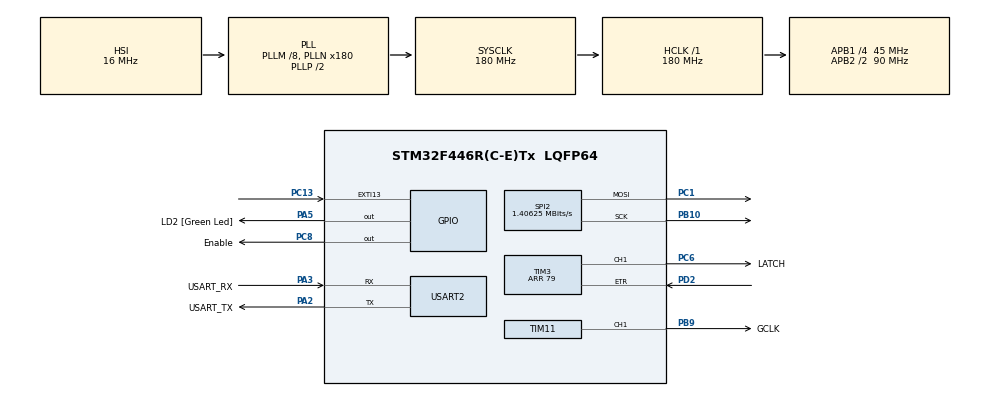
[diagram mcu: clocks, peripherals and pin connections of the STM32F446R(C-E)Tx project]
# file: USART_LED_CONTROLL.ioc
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Mcu.Family=STM32F4
Dma.SPI2_TX.2.PeriphInc=DMA_PINC_DISABLE
Dma.SPI2_TX.2.MemInc=DMA_MINC_ENABLE
PH0-OSC_IN.Signal=RCC_OSC_IN
RCC.CortexFreq_Value=180000000
PB10.GPIO_PuPd=GPIO_PULLDOWN
SPI2.VirtualType=VM_MASTER
PB10.Mode=TX_Only_Simplex_Unidirect_Master
Dma.USART2_TX.1.MemInc=DMA_MINC_ENABLE
PA14.GPIO_Label=TCK
PC6.GPIO_Label=LATCH
PD2.GPIO_Speed=GPIO_SPEED_FREQ_VERY_HIGH
NVIC.DMA1_Stream4_IRQn=true\:0\:0\:false\:false\:true\:false\:true
RCC.SYSCLKSource=RCC_SYSCLKSOURCE_PLLCLK
ProjectManager.StackSize=0x400
SPI2.CLKPolarity=SPI_POLARITY_LOW
Dma.USART2_RX.0.Priority=DMA_PRIORITY_LOW
Dma.USART2_RX.0.PeriphDataAlignment=DMA_PDATAALIGN_BYTE
RCC.HCLKFreq_Value=180000000
RCC.APB2TimFreq_Value=180000000
TIM3.Period=79
Dma.USART2_TX.1.Mode=DMA_NORMAL
Dma.SPI2_TX.2.PeriphDataAlignment=DMA_PDATAALIGN_HALFWORD
Dma.SPI2_TX.2.Instance=DMA1_Stream4
RCC.AHBFreq_Value=180000000
SPI2.BaudRatePrescaler=SPI_BAUDRATEPRESCALER_32
TIM3.Channel-PWM\ Generation1\ CH1=TIM_CHANNEL_1
NVIC.EXTI15_10_IRQn=true\:0\:0\:false\:false\:true\:true\:true
RCC.HSE_VALUE=8000000
Dma.USART2_RX.0.MemDataAlignment=DMA_MDATAALIGN_BYTE
Dma.USART2_TX.1.Instance=DMA1_Stream6
Dma.USART2_RX.0.Instance=DMA1_Stream5
SPI2.CalculateBaudRate=1.40625 MBits/s
NVIC.SPI2_IRQn=true\:0\:0\:false\:false\:true\:true\:true
SH.S_TIM3_CH1.0=TIM3_CH1,PWM Generation1 CH1
Dma.SPI2_TX.2.MemDataAlignment=DMA_MDATAALIGN_HALFWORD
RCC.FLatency-AdvancedSettings=FLASH_LATENCY_5
TIM3.OCPolarity_1=TIM_OCPOLARITY_LOW
PB9.Signal=S_TIM11_CH1
Mcu.Package=LQFP64
SPI2.Mode=SPI_MODE_MASTER
Dma.SPI2_TX.2.Priority=DMA_PRIORITY_LOW
Dma.USART2_RX.0.PeriphInc=DMA_PINC_DISABLE
USART2.VirtualMode=VM_ASYNC
Dma.USART2_RX.0.FIFOMode=DMA_FIFOMODE_DISABLE
PA2.GPIO_Label=USART_TX
Dma.SPI2_TX.2.Mode=DMA_NORMAL
TIM11.OCPolarity_1=TIM_OCPOLARITY_HIGH
RCC.APB2CLKDivider=RCC_HCLK_DIV2
Dma.Request2=SPI2_TX
Dma.Request1=USART2_TX
RCC.APB1TimFreq_Value=90000000
SPI2.Direction=SPI_DIRECTION_2LINES
NVIC.DMA1_Stream6_IRQn=true\:0\:0\:false\:false\:true\:false\:true
Dma.Request0=USART2_RX
SH.S_TIM11_CH1.0=TIM11_CH1,PWM Generation1 CH1
PC6.GPIO_Speed=GPIO_SPEED_FREQ_VERY_HIGH
TIM3.OCFastMode_PWM-PWM\ Generation1\ CH1=TIM_OCFAST_DISABLE
PA3.Signal=USART2_RX
PB3.GPIO_Label=SWO
Dma.USART2_TX.1.Priority=DMA_PRIORITY_LOW
PB9.GPIO_Label=GCLK
Dma.USART2_TX.1.FIFOMode=DMA_FIFOMODE_DISABLE
PD2.GPIO_PuPd=GPIO_PULLDOWN
TIM3.AutoReloadPreload=TIM_AUTORELOAD_PRELOAD_ENABLE
PC13.Signal=GPXTI13
PC8.Signal=GPIO_Output
PC6.Signal=S_TIM3_CH1
Dma.USART2_RX.0.Direction=DMA_PERIPH_TO_MEMORY
TIM11.Prescaler=45-1
RCC.APB1CLKDivider=RCC_HCLK_DIV4
PC14-OSC32_IN.Signal=RCC_OSC32_IN
Dma.USART2_TX.1.PeriphDataAlignment=DMA_PDATAALIGN_BYTE
NVIC.USART2_IRQn=true\:0\:0\:false\:false\:true\:true\:true
TIM3.ClockFilter=0
VP_TIM11_VS_ClockSourceINT.Mode=Enable_Timer
Dma.USART2_RX.0.Mode=DMA_NORMAL
PC8.GPIO_Label=Enable
PA3.Mode=Asynchronous
PA13.Signal=SYS_JTMS-SWDIO
TIM3.Pulse-PWM\ Generation1\ CH1=79
ProjectManager.TargetToolchain=STM32CubeIDE
NVIC.DMA1_Stream5_IRQn=true\:0\:0\:false\:false\:true\:false\:true
Dma.SPI2_TX.2.Direction=DMA_MEMORY_TO_PERIPH
Dma.SPI2_TX.2.FIFOMode=DMA_FIFOMODE_DISABLE
RCC.USBFreq_Value=180000000
RCC.LSE_VALUE=32768
PC15-OSC32_OUT.Signal=RCC_OSC32_OUT
PB10.Signal=SPI2_SCK
PA5.Signal=GPIO_Output
TIM11.Pulse=5
Dma.USART2_TX.1.PeriphInc=DMA_PINC_DISABLE
board=NUCLEO-F446RE
RCC.VCOOutputFreq_Value=360000000
NVIC.TIM3_IRQn=true\:0\:0\:false\:false\:true\:true\:true
TIM11.Period=10-1
Dma.USART2_TX.1.Direction=DMA_MEMORY_TO_PERIPH
RCC.APB2Freq_Value=90000000
PH1-OSC_OUT.Signal=RCC_OSC_OUT
SH.S_TIM3_ETR.0=TIM3_ETR,ClockSourceETR_Mode2
Mcu.Name=STM32F446R(C-E)Tx
Dma.USART2_RX.0.MemInc=DMA_MINC_ENABLE
PA2.Signal=USART2_TX
PA13.GPIO_Label=TMS
PB3.Signal=SYS_JTDO-SWO
RCC.SYSCLKFreq_VALUE=180000000
PA5.GPIO_Label=LD2 [Green Led]
PA14.Signal=SYS_JTCK-SWCLK
ProjectManager.HeapSize=0x200
RCC.HSI_VALUE=16000000
TIM11.AutoReloadPreload=TIM_AUTORELOAD_PRELOAD_ENABLE
PA5.GPIO_Speed=GPIO_SPEED_FREQ_VERY_HIGH
NVIC.PriorityGroup=NVIC_PRIORITYGROUP_0
RCC.PLLM=8
RCC.PLLN=180
TIM11.Channel=TIM_CHANNEL_1
PA2.Mode=Asynchronous
TIM3.ClockPolarity=TIM_CLOCKPOLARITY_INVERTED
SPI2.DataSize=SPI_DATASIZE_16BIT
Dma.USART2_TX.1.MemDataAlignment=DMA_MDATAALIGN_BYTE
PD2.Signal=S_TIM3_ETR
RCC.APB1Freq_Value=45000000
PC1.Signal=SPI2_MOSI
PC1.Mode=TX_Only_Simplex_Unidirect_Master
PA3.GPIO_Label=USART_RX

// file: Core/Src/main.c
/* USER CODE BEGIN Header */
/**
  ******************************************************************************
  * @file           : main.c
  * @brief          : Main program body
  ******************************************************************************
  * @attention
  *
  * <h2><center>&copy; Copyright (c) 2021 STMicroelectronics.
  * All rights reserved.</center></h2>
  *
  * This software component is licensed by ST under BSD 3-Clause license,
  * the "License"; You may not use this file except in compliance with the
  * License. You may obtain a copy of the License at:
  *                        opensource.org/licenses/BSD-3-Clause
  *
  ******************************************************************************
  */
/* USER CODE END Header */
#include "main.h"

/* USER CODE BEGIN Includes */
#include <stdio.h>
#include <string.h>
#include <stdlib.h>
/* USER CODE END Includes */

/* USER CODE BEGIN PD */
#define NUMBER_OF_DRIVERS 3

/* USER CODE END PD */

SPI_HandleTypeDef hspi2;
DMA_HandleTypeDef hdma_spi2_tx;

TIM_HandleTypeDef htim3;
TIM_HandleTypeDef htim11;

UART_HandleTypeDef huart2;
DMA_HandleTypeDef hdma_usart2_rx;
DMA_HandleTypeDef hdma_usart2_tx;

/* USER CODE BEGIN PV */
uint8_t transmit_buff[(16*4*NUMBER_OF_DRIVERS)+1],
		recive_buff[(16*4*NUMBER_OF_DRIVERS)+1],
		command_buff[2],
		is_connected = 0,
		waiting_for_frame = 0,
		recieve_buffer_full = 0,
		decoding_array[5],
		spi_transmit_element = 0,
		high_states = 0,
		transmit_response,
		number_of_data_latches = 0,
		number_of_global_latches = 0,
		latch_command = 0,
		times_latched = 0,
		number_of_s_spi = 0,
		number_of_pulses = 1;

uint16_t spi_transmit_buffer[16*NUMBER_OF_DRIVERS],
		 spi_dummy_buffer_empty[16*NUMBER_OF_DRIVERS],
		 spi_dummy_buffer_full[16*NUMBER_OF_DRIVERS];

/* USER CODE END PV */

void SystemClock_Config(void);
static void MX_GPIO_Init(void);
static void MX_DMA_Init(void);
static void MX_USART2_UART_Init(void);
static void MX_SPI2_Init(void);
static void MX_TIM3_Init(void);
static void MX_TIM11_Init(void);
/* USER CODE BEGIN PFP */
void HAL_UART_RxCpltCallback(UART_HandleTypeDef *huart);
void HAL_TIM_IC_CaptureCallback(TIM_HandleTypeDef *htim);
void load_frame(void);
/* USER CODE END PFP */

int main(void)
{

  /* MCU Configuration--------------------------------------------------------*/

  /* Reset of all peripherals, Initializes the Flash interface and the Systick. */
  HAL_Init();

  /* Configure the system clock */
  SystemClock_Config();

  /* Initialize all configured peripherals */
  MX_GPIO_Init();
  MX_DMA_Init();
  MX_USART2_UART_Init();
  MX_SPI2_Init();
  MX_TIM3_Init();
  MX_TIM11_Init();
  /* USER CODE BEGIN 2 */
  for(uint16_t i=0; i<16*NUMBER_OF_DRIVERS; i++){
	spi_dummy_buffer_empty[i]=0;
	spi_dummy_buffer_full[i]=65535;
  }
  HAL_TIM_PWM_Start_IT(&htim3, TIM_CHANNEL_1);

  HAL_UART_Receive_DMA(&huart2, command_buff, 1);
  HAL_GPIO_WritePin(Enable_GPIO_Port, Enable_Pin, GPIO_PIN_SET);
  /* USER CODE END 2 */

  /* Infinite loop */
  /* USER CODE BEGIN WHILE */
  while (1)
  {
	  while(recieve_buffer_full){
		  for(uint16_t i=4; i<=(16*NUMBER_OF_DRIVERS*4); i=i+4){
			  for(uint8_t j=4; j>0; j--){
				  decoding_array[4-j] = recive_buff[i-j];
			  }
			  spi_transmit_buffer[spi_transmit_element]=strtol((char *)decoding_array, NULL, 16);
			  spi_transmit_element++;
			  if(spi_transmit_element==(16*NUMBER_OF_DRIVERS)){
				  break;

			  }
		  }
		  spi_transmit_element=0;
		  recieve_buffer_full = 0;
		  waiting_for_frame = 0;
		  HAL_GPIO_WritePin(Enable_GPIO_Port, Enable_Pin, GPIO_PIN_RESET);
		  HAL_SPI_Transmit_DMA(&hspi2, (uint8_t*)spi_transmit_buffer, 16*NUMBER_OF_DRIVERS);

	  }
  }

    /* USER CODE END WHILE */

}

void SystemClock_Config(void)
{
  RCC_OscInitTypeDef RCC_OscInitStruct = {0};
  RCC_ClkInitTypeDef RCC_ClkInitStruct = {0};

  /** Configure the main internal regulator output voltage
  */
  __HAL_RCC_PWR_CLK_ENABLE();
  __HAL_PWR_VOLTAGESCALING_CONFIG(PWR_REGULATOR_VOLTAGE_SCALE1);
  /** Initializes the RCC Oscillators according to the specified parameters
  * in the RCC_OscInitTypeDef structure.
  */
  RCC_OscInitStruct.OscillatorType = RCC_OSCILLATORTYPE_HSI;
  RCC_OscInitStruct.HSIState = RCC_HSI_ON;
  RCC_OscInitStruct.HSICalibrationValue = RCC_HSICALIBRATION_DEFAULT;
  RCC_OscInitStruct.PLL.PLLState = RCC_PLL_ON;
  RCC_OscInitStruct.PLL.PLLSource = RCC_PLLSOURCE_HSI;
  RCC_OscInitStruct.PLL.PLLM = 8;
  RCC_OscInitStruct.PLL.PLLN = 180;
  RCC_OscInitStruct.PLL.PLLP = RCC_PLLP_DIV2;
  RCC_OscInitStruct.PLL.PLLQ = 2;
  RCC_OscInitStruct.PLL.PLLR = 2;
  if (HAL_RCC_OscConfig(&RCC_OscInitStruct) != HAL_OK)
  {
    Error_Handler();
  }
  /** Activate the Over-Drive mode
  */
  if (HAL_PWREx_EnableOverDrive() != HAL_OK)
  {
    Error_Handler();
  }
  /** Initializes the CPU, AHB and APB buses clocks
  */
  RCC_ClkInitStruct.ClockType = RCC_CLOCKTYPE_HCLK|RCC_CLOCKTYPE_SYSCLK
                              |RCC_CLOCKTYPE_PCLK1|RCC_CLOCKTYPE_PCLK2;
  RCC_ClkInitStruct.SYSCLKSource = RCC_SYSCLKSOURCE_PLLCLK;
  RCC_ClkInitStruct.AHBCLKDivider = RCC_SYSCLK_DIV1;
  RCC_ClkInitStruct.APB1CLKDivider = RCC_HCLK_DIV4;
  RCC_ClkInitStruct.APB2CLKDivider = RCC_HCLK_DIV2;

  if (HAL_RCC_ClockConfig(&RCC_ClkInitStruct, FLASH_LATENCY_5) != HAL_OK)
  {
    Error_Handler();
  }
}

static void MX_SPI2_Init(void)
{

  /* SPI2 parameter configuration*/
  hspi2.Instance = SPI2;
  hspi2.Init.Mode = SPI_MODE_MASTER;
  hspi2.Init.Direction = SPI_DIRECTION_2LINES;
  hspi2.Init.DataSize = SPI_DATASIZE_16BIT;
  hspi2.Init.CLKPolarity = SPI_POLARITY_LOW;
  hspi2.Init.CLKPhase = SPI_PHASE_1EDGE;
  hspi2.Init.NSS = SPI_NSS_SOFT;
  hspi2.Init.BaudRatePrescaler = SPI_BAUDRATEPRESCALER_32;
  hspi2.Init.FirstBit = SPI_FIRSTBIT_MSB;
  hspi2.Init.TIMode = SPI_TIMODE_DISABLE;
  hspi2.Init.CRCCalculation = SPI_CRCCALCULATION_DISABLE;
  hspi2.Init.CRCPolynomial = 10;
  if (HAL_SPI_Init(&hspi2) != HAL_OK)
  {
    Error_Handler();
  }

}

static void MX_TIM3_Init(void)
{

  TIM_ClockConfigTypeDef sClockSourceConfig = {0};
  TIM_MasterConfigTypeDef sMasterConfig = {0};
  TIM_OC_InitTypeDef sConfigOC = {0};

  htim3.Instance = TIM3;
  htim3.Init.Prescaler = 0;
  htim3.Init.CounterMode = TIM_COUNTERMODE_UP;
  htim3.Init.Period = (NUMBER_OF_DRIVERS*16)-1;
  htim3.Init.ClockDivision = TIM_CLOCKDIVISION_DIV1;
  htim3.Init.AutoReloadPreload = TIM_AUTORELOAD_PRELOAD_ENABLE;
  if (HAL_TIM_Base_Init(&htim3) != HAL_OK)
  {
    Error_Handler();
  }
  sClockSourceConfig.ClockSource = TIM_CLOCKSOURCE_ETRMODE2;
  sClockSourceConfig.ClockPolarity = TIM_CLOCKPOLARITY_INVERTED;
  sClockSourceConfig.ClockPrescaler = TIM_CLOCKPRESCALER_DIV1;
  sClockSourceConfig.ClockFilter = 0;
  if (HAL_TIM_ConfigClockSource(&htim3, &sClockSourceConfig) != HAL_OK)
  {
    Error_Handler();
  }
  if (HAL_TIM_PWM_Init(&htim3) != HAL_OK)
  {
    Error_Handler();
  }
  sMasterConfig.MasterOutputTrigger = TIM_TRGO_RESET;
  sMasterConfig.MasterSlaveMode = TIM_MASTERSLAVEMODE_DISABLE;
  if (HAL_TIMEx_MasterConfigSynchronization(&htim3, &sMasterConfig) != HAL_OK)
  {
    Error_Handler();
  }
  sConfigOC.OCMode = TIM_OCMODE_PWM1;
  sConfigOC.Pulse = (NUMBER_OF_DRIVERS*16)-1;
  sConfigOC.OCPolarity = TIM_OCPOLARITY_LOW;
  sConfigOC.OCFastMode = TIM_OCFAST_DISABLE;
  if (HAL_TIM_PWM_ConfigChannel(&htim3, &sConfigOC, TIM_CHANNEL_1) != HAL_OK)
  {
    Error_Handler();
  }
  /* USER CODE BEGIN TIM3_Init 2 */
  __HAL_TIM_CLEAR_FLAG(&htim3, TIM_SR_UIF);

  /* USER CODE END TIM3_Init 2 */
  HAL_TIM_MspPostInit(&htim3);

}

static void MX_TIM11_Init(void)
{

  TIM_OC_InitTypeDef sConfigOC = {0};

  htim11.Instance = TIM11;
  htim11.Init.Prescaler = 8-1;
  htim11.Init.CounterMode = TIM_COUNTERMODE_UP;
  htim11.Init.Period = 10-1;
  htim11.Init.ClockDivision = TIM_CLOCKDIVISION_DIV1;
  htim11.Init.AutoReloadPreload = TIM_AUTORELOAD_PRELOAD_ENABLE;
  if (HAL_TIM_Base_Init(&htim11) != HAL_OK)
  {
    Error_Handler();
  }
  if (HAL_TIM_PWM_Init(&htim11) != HAL_OK)
  {
    Error_Handler();
  }
  sConfigOC.OCMode = TIM_OCMODE_PWM1;
  sConfigOC.Pulse = 5;
  sConfigOC.OCPolarity = TIM_OCPOLARITY_HIGH;
  sConfigOC.OCFastMode = TIM_OCFAST_DISABLE;
  if (HAL_TIM_PWM_ConfigChannel(&htim11, &sConfigOC, TIM_CHANNEL_1) != HAL_OK)
  {
    Error_Handler();
  }
  HAL_TIM_MspPostInit(&htim11);

}

static void MX_USART2_UART_Init(void)
{

  huart2.Instance = USART2;
  huart2.Init.BaudRate = 115200;
  huart2.Init.WordLength = UART_WORDLENGTH_8B;
  huart2.Init.StopBits = UART_STOPBITS_1;
  huart2.Init.Parity = UART_PARITY_NONE;
  huart2.Init.Mode = UART_MODE_TX_RX;
  huart2.Init.HwFlowCtl = UART_HWCONTROL_NONE;
  huart2.Init.OverSampling = UART_OVERSAMPLING_16;
  if (HAL_UART_Init(&huart2) != HAL_OK)
  {
    Error_Handler();
  }

}

static void MX_DMA_Init(void)
{

  /* DMA controller clock enable */
  __HAL_RCC_DMA1_CLK_ENABLE();

  /* DMA interrupt init */
  /* DMA1_Stream4_IRQn interrupt configuration */
  HAL_NVIC_SetPriority(DMA1_Stream4_IRQn, 0, 0);
  HAL_NVIC_EnableIRQ(DMA1_Stream4_IRQn);
  /* DMA1_Stream5_IRQn interrupt configuration */
  HAL_NVIC_SetPriority(DMA1_Stream5_IRQn, 0, 0);
  HAL_NVIC_EnableIRQ(DMA1_Stream5_IRQn);
  /* DMA1_Stream6_IRQn interrupt configuration */
  HAL_NVIC_SetPriority(DMA1_Stream6_IRQn, 0, 0);
  HAL_NVIC_EnableIRQ(DMA1_Stream6_IRQn);

}

static void MX_GPIO_Init(void)
{
  GPIO_InitTypeDef GPIO_InitStruct = {0};

  /* GPIO Ports Clock Enable */
  __HAL_RCC_GPIOC_CLK_ENABLE();
  __HAL_RCC_GPIOH_CLK_ENABLE();
  __HAL_RCC_GPIOA_CLK_ENABLE();
  __HAL_RCC_GPIOB_CLK_ENABLE();
  __HAL_RCC_GPIOD_CLK_ENABLE();

  /*Configure GPIO pin Output Level */
  HAL_GPIO_WritePin(LD2_GPIO_Port, LD2_Pin, GPIO_PIN_RESET);

  /*Configure GPIO pin Output Level */
  HAL_GPIO_WritePin(Enable_GPIO_Port, Enable_Pin, GPIO_PIN_RESET);

  /*Configure GPIO pin : PC13 */
  GPIO_InitStruct.Pin = GPIO_PIN_13;
  GPIO_InitStruct.Mode = GPIO_MODE_IT_RISING;
  GPIO_InitStruct.Pull = GPIO_NOPULL;
  HAL_GPIO_Init(GPIOC, &GPIO_InitStruct);

  /*Configure GPIO pin : LD2_Pin */
  GPIO_InitStruct.Pin = LD2_Pin;
  GPIO_InitStruct.Mode = GPIO_MODE_OUTPUT_PP;
  GPIO_InitStruct.Pull = GPIO_NOPULL;
  GPIO_InitStruct.Speed = GPIO_SPEED_FREQ_VERY_HIGH;
  HAL_GPIO_Init(LD2_GPIO_Port, &GPIO_InitStruct);

  /*Configure GPIO pin : Enable_Pin */
  GPIO_InitStruct.Pin = Enable_Pin;
  GPIO_InitStruct.Mode = GPIO_MODE_OUTPUT_PP;
  GPIO_InitStruct.Pull = GPIO_NOPULL;
  GPIO_InitStruct.Speed = GPIO_SPEED_FREQ_LOW;
  HAL_GPIO_Init(Enable_GPIO_Port, &GPIO_InitStruct);

  /* EXTI interrupt init*/
  HAL_NVIC_SetPriority(EXTI15_10_IRQn, 0, 0);
  HAL_NVIC_EnableIRQ(EXTI15_10_IRQn);

}

/* USER CODE BEGIN 4 */
void HAL_UART_RxCpltCallback(UART_HandleTypeDef *huart){

	if(!waiting_for_frame){
		switch(command_buff[0]){
			case 1+48:
				if(is_connected){
					break;
				}
				HAL_UART_Transmit_DMA(&huart2, command_buff, 1);
				is_connected = 1;
				HAL_UART_Receive_DMA(&huart2, command_buff, 1);
				break;

			case 2+48:
				is_connected = 0;
				HAL_UART_Receive_DMA(&huart2, command_buff, 1);
				break;
			case 3+48:
				if(!is_connected){
					break;
				}
				HAL_UART_Transmit_DMA(&huart2, command_buff, 1);
				waiting_for_frame = 1;
				HAL_UART_Receive_DMA(&huart2, recive_buff, 16*4*NUMBER_OF_DRIVERS);
				break;

			default:
				HAL_UART_Receive_DMA(&huart2, command_buff, 1);
				break;
		}
	}else{
		waiting_for_frame = 0;
		HAL_UART_Transmit_DMA(&huart2, recive_buff, 16*4*NUMBER_OF_DRIVERS);
		recieve_buffer_full = 1;
		HAL_UART_Receive_DMA(&huart2, command_buff, 1);
	}
}

void HAL_SPI_TxCpltCallback(SPI_HandleTypeDef *hspi){
	if (hspi==&hspi2){

		HAL_GPIO_WritePin(Enable_GPIO_Port, Enable_Pin, GPIO_PIN_SET);
		HAL_TIM_PWM_Start_IT(&htim11, TIM_CHANNEL_1);

	}
}

void HAL_TIM_PWM_PulseFinishedCallback(TIM_HandleTypeDef *htim){
	if (htim==&htim3){
		if(number_of_pulses<14){

			__HAL_TIM_SET_COMPARE(&htim3, TIM_CHANNEL_1, (NUMBER_OF_DRIVERS*16)-1);
			number_of_pulses++;
		}
		else if(number_of_pulses==14){
			__HAL_TIM_SET_COMPARE(&htim3, TIM_CHANNEL_1, (NUMBER_OF_DRIVERS*16)-3);
			number_of_pulses++;
		}
		else if(number_of_pulses==15){
			__HAL_TIM_SET_COMPARE(&htim3, TIM_CHANNEL_1, (NUMBER_OF_DRIVERS*16)-1);
			number_of_pulses=0;

		}
	}
}

void HAL_GPIO_EXTI_Callback(uint16_t GPIO_Pin){

	  HAL_GPIO_WritePin(Enable_GPIO_Port, Enable_Pin, GPIO_PIN_RESET);
	  HAL_SPI_Transmit_DMA(&hspi2, (uint8_t*)spi_dummy_buffer_empty, 16*NUMBER_OF_DRIVERS);
}

/* USER CODE END 4 */

void Error_Handler(void)
{
  __disable_irq();
  while (1)
  {
  }
}

/************************ (C) COPYRIGHT STMicroelectronics *****END OF FILE****/
